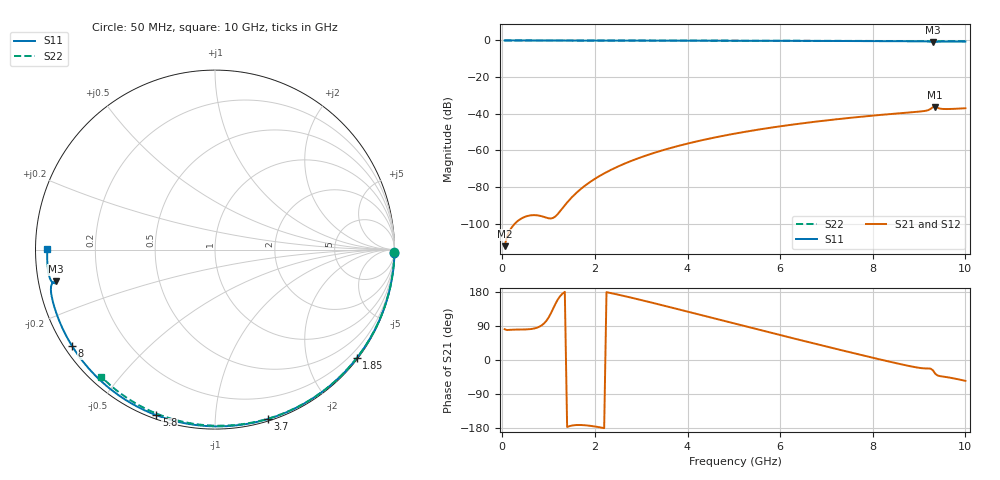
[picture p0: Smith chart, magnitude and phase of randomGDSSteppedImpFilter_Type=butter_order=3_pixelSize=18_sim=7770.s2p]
! freq	dB(S11)	phase(S11)	dB(S12)	phase(S12)
!  dB(S21)	phase(S21)	dB(S22)	phase(S22)
!S-par simulation data
#  GHz  S  DB  R 50
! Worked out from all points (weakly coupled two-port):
!   200 points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, 50 MHz to 10 GHz, reference 50 ohm
!   highest |S21| = -36.28 dB at 9.35 GHz (marker M1); lowest = -112.3 dB at 50 MHz (marker M2)
!   lowest |S11| = -0.9 dB at 9.3 GHz (marker M3), VSWR 20.30, Z = 2.49 - j4.94 ohm
!   |S11| at or under -10 dB: nowhere
!   |S22| runs from -0.4 to 0.0 dB; largest |S21 - S12| = 0
!   S11 on the Smith chart (normalised r, x): 50 MHz: open; 1.85 GHz: 0.03, -2.94; 3.7 GHz: 0.02, -1.36; 5.8 GHz: 0.02, -0.71; 8 GHz: 0.02, -0.31; 10 GHz: 0.03, +0.00
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0.05  -0.00 -1.0  -112.34 81.2  -112.34 81.2  -0.00 -0.8
0.85  -0.02 -17.5  -95.99 91.4  -95.99 91.4  -0.02 -12.9
1.75  -0.05 -35.5  -80.00 -171.9  -80.00 -171.9  -0.03 -26.3
1.85  -0.05 -37.5  -78.10 -173.0  -78.10 -173.0  -0.04 -27.7
2.15  -0.06 -43.4  -73.30 -178.7  -73.30 -178.7  -0.04 -32.1
2.5  -0.06 -50.2  -68.82 172.5  -68.82 172.5  -0.05 -37.2
2.9  -0.07 -57.9  -64.67 161.2  -64.67 161.2  -0.06 -42.9
3.4  -0.09 -67.2  -60.44 146.2  -60.44 146.2  -0.07 -50.0
3.7  -0.10 -72.8  -58.27 137.0  -58.27 137.0  -0.07 -54.2
4.35  -0.12 -84.5  -54.26 116.8  -54.26 116.8  -0.09 -63.1
5.05  -0.15 -96.7  -50.74 95.1  -50.74 95.1  -0.11 -72.4
5.8  -0.19 -109.5  -47.62 72.0  -47.62 72.0  -0.14 -82.1
6.7  -0.24 -124.5  -44.55 44.6  -44.55 44.6  -0.18 -93.3
8  -0.35 -146.0  -41.05 6.0  -41.05 6.0  -0.26 -108.9
8.35  -0.38 -151.9  -40.25 -4.1  -40.25 -4.1  -0.29 -112.9
9.1  -0.50 -165.3  -38.59 -22.1  -38.59 -22.1  -0.35 -121.6
9.2  -0.58 -167.4  -38.02 -22.4  -38.02 -22.4  -0.36 -122.7
9.3  -0.86 -168.7  -36.40 -27.4  -36.40 -27.4  -0.37 -123.8
9.35  -0.84 -168.0  -36.28 -36.3  -36.28 -36.3  -0.38 -124.4
9.45  -0.62 -169.5  -37.21 -42.5  -37.21 -42.5  -0.39 -125.6
9.55  -0.57 -171.6  -37.45 -44.2  -37.45 -44.2  -0.40 -126.7
10  -0.59 179.8  -37.03 -55.0  -37.03 -55.0  -0.45 -131.8
